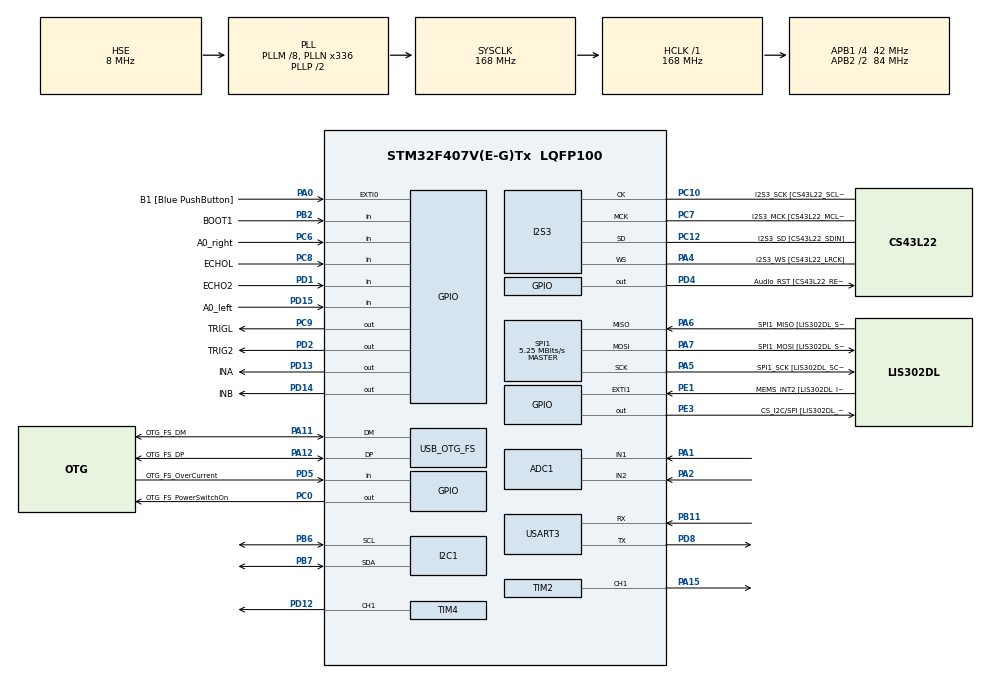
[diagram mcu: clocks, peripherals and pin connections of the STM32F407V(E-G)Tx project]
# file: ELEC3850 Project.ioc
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ADC1.Channel-0\#ChannelRegularConversion=ADC_CHANNEL_1
ADC1.Channel-1\#ChannelRegularConversion=ADC_CHANNEL_2
ADC1.ContinuousConvMode=DISABLE
ADC1.DMAContinuousRequests=ENABLE
ADC1.ExternalTrigConv=ADC_EXTERNALTRIGCONV_T3_TRGO
ADC1.NbrOfConversion=2
ADC1.NbrOfConversionFlag=1
ADC1.Rank-0\#ChannelRegularConversion=1
ADC1.Rank-1\#ChannelRegularConversion=2
ADC1.SamplingTime-0\#ChannelRegularConversion=ADC_SAMPLETIME_112CYCLES
ADC1.SamplingTime-1\#ChannelRegularConversion=ADC_SAMPLETIME_112CYCLES
ADC1.ScanConvMode=ENABLE
ADC1.master=1
Dma.ADC1.0.Direction=DMA_PERIPH_TO_MEMORY
Dma.ADC1.0.FIFOMode=DMA_FIFOMODE_DISABLE
Dma.ADC1.0.Instance=DMA2_Stream0
Dma.ADC1.0.MemDataAlignment=DMA_MDATAALIGN_WORD
Dma.ADC1.0.MemInc=DMA_MINC_ENABLE
Dma.ADC1.0.Mode=DMA_CIRCULAR
Dma.ADC1.0.PeriphDataAlignment=DMA_PDATAALIGN_WORD
Dma.ADC1.0.PeriphInc=DMA_PINC_DISABLE
Dma.ADC1.0.Priority=DMA_PRIORITY_LOW
Dma.Request0=ADC1
I2S3.AudioFreq-Half_Duplex_Master=I2S_AUDIOFREQ_96K
I2S3.ErrorAudioFreq=-2.34 %
I2S3.ErrorAudioFreq-Half_Duplex_Master=0.8 %
I2S3.FullDuplexMode=I2S_FULLDUPLEXMODE_DISABLE
I2S3.Instance=SPI$Index
I2S3.RealAudioFreq=93.75 KHz
I2S3.RealAudioFreq-Half_Duplex_Master=96.774 KHz
I2S3.VirtualMode=I2S_MODE_MASTER
Mcu.Family=STM32F4
Mcu.Name=STM32F407V(E-G)Tx
Mcu.Package=LQFP100
NVIC.DMA2_Stream0_IRQn=true\:0\:0\:false\:false\:true\:false\:true
NVIC.EXTI0_IRQn=true\:0\:0\:false\:false\:true\:true\:true
NVIC.OTG_FS_IRQn=true\:0\:0\:false\:false\:true\:true\:true
NVIC.PriorityGroup=NVIC_PRIORITYGROUP_0
PA0-WKUP.GPIO_Label=B1 [Blue PushButton]
PA0-WKUP.GPIO_ModeDefaultEXTI=GPIO_MODE_IT_RISING
PA0-WKUP.GPIO_PuPd=GPIO_NOPULL
PA0-WKUP.Signal=GPXTI0
PA1.Signal=ADCx_IN1
PA10.GPIO_Label=OTG_FS_ID
PA10.GPIO_Mode=GPIO_MODE_AF_PP
PA10.GPIO_PuPd=GPIO_NOPULL
PA10.GPIO_Speed=GPIO_SPEED_FREQ_LOW
PA10.Signal=USB_OTG_FS_ID
PA11.GPIO_Label=OTG_FS_DM
PA11.GPIO_Mode=GPIO_MODE_AF_PP
PA11.GPIO_PuPd=GPIO_NOPULL
PA11.GPIO_Speed=GPIO_SPEED_FREQ_LOW
PA11.Mode=Device_Only
PA11.Signal=USB_OTG_FS_DM
PA12.GPIO_Label=OTG_FS_DP
PA12.GPIO_Mode=GPIO_MODE_AF_PP
PA12.GPIO_PuPd=GPIO_NOPULL
PA12.GPIO_Speed=GPIO_SPEED_FREQ_LOW
PA12.Mode=Device_Only
PA12.Signal=USB_OTG_FS_DP
PA13.GPIO_Label=SWDIO
PA13.Mode=Serial_Wire
PA13.Signal=SYS_JTMS-SWDIO
PA14.GPIO_Label=SWCLK
PA14.Mode=Serial_Wire
PA14.Signal=SYS_JTCK-SWCLK
PA15.Signal=S_TIM2_CH1_ETR
PA2.Signal=ADCx_IN2
PA4.GPIO_Label=I2S3_WS [CS43L22_LRCK]
PA4.GPIO_Mode=GPIO_MODE_AF_PP
PA4.GPIO_PuPd=GPIO_NOPULL
PA4.GPIO_Speed=GPIO_SPEED_FREQ_LOW
PA4.Mode=Half_Duplex_Master
PA4.Signal=I2S3_WS
PA5.GPIO_Label=SPI1_SCK [LIS302DL_SCL/SPC]
PA5.GPIO_Mode=GPIO_MODE_AF_PP
PA5.GPIO_PuPd=GPIO_NOPULL
PA5.GPIO_Speed=GPIO_SPEED_FREQ_LOW
PA5.Mode=Full_Duplex_Master
PA5.Signal=SPI1_SCK
PA6.GPIO_Label=SPI1_MISO [LIS302DL_SDO]
PA6.GPIO_Mode=GPIO_MODE_AF_PP
PA6.GPIO_PuPd=GPIO_NOPULL
PA6.GPIO_Speed=GPIO_SPEED_FREQ_LOW
PA6.Mode=Full_Duplex_Master
PA6.Signal=SPI1_MISO
PA7.GPIO_Label=SPI1_MOSI [LIS302DL_SDA/SDI/SDO]
PA7.GPIO_Mode=GPIO_MODE_AF_PP
PA7.GPIO_PuPd=GPIO_NOPULL
PA7.GPIO_Speed=GPIO_SPEED_FREQ_LOW
PA7.Mode=Full_Duplex_Master
PA7.Signal=SPI1_MOSI
PA9.GPIO_Label=VBUS_FS
PA9.GPIO_Mode=GPIO_MODE_INPUT
PA9.GPIO_PuPd=GPIO_NOPULL
PA9.Signal=USB_OTG_FS_VBUS
PB10.GPIO_Label=CLK_IN [MP45DT02_CLK]
PB10.GPIO_Mode=GPIO_MODE_AF_PP
PB10.GPIO_PuPd=GPIO_NOPULL
PB10.GPIO_Speed=GPIO_SPEED_FREQ_LOW
PB10.Signal=I2S2_CK
PB11.Mode=Asynchronous
PB11.Signal=USART3_RX
PB2.GPIO_Label=BOOT1
PB2.GPIO_Mode=GPIO_MODE_INPUT
PB2.GPIO_PuPd=GPIO_NOPULL
PB2.Signal=GPIO_Input
PB3.GPIO_Label=SWO
PB3.Signal=SYS_JTDO-SWO
PB6.Mode=I2C
PB6.Signal=I2C1_SCL
PB7.Mode=I2C
PB7.Signal=I2C1_SDA
PC0.GPIO_Label=OTG_FS_PowerSwitchOn
PC0.GPIO_PuPd=GPIO_NOPULL
PC0.GPIO_Speed=GPIO_SPEED_FREQ_LOW
PC0.PinState=GPIO_PIN_SET
PC0.Signal=GPIO_Output
PC10.GPIO_Label=I2S3_SCK [CS43L22_SCLK]
PC10.GPIO_Mode=GPIO_MODE_AF_PP
PC10.GPIO_PuPd=GPIO_NOPULL
PC10.GPIO_Speed=GPIO_SPEED_FREQ_LOW
PC10.Mode=Half_Duplex_Master
PC10.Signal=I2S3_CK
PC12.GPIO_Label=I2S3_SD [CS43L22_SDIN]
PC12.GPIO_Mode=GPIO_MODE_AF_PP
PC12.GPIO_PuPd=GPIO_NOPULL
PC12.GPIO_Speed=GPIO_SPEED_FREQ_LOW
PC12.Mode=Half_Duplex_Master
PC12.Signal=I2S3_SD
PC14-OSC32_IN.GPIO_Label=PC14-OSC32_IN
PC14-OSC32_IN.Mode=LSE-External-Oscillator
PC14-OSC32_IN.Signal=RCC_OSC32_IN
PC15-OSC32_OUT.GPIO_Label=PC15-OSC32_OUT
PC15-OSC32_OUT.Mode=LSE-External-Oscillator
PC15-OSC32_OUT.Signal=RCC_OSC32_OUT
PC3.GPIO_Label=PDM_OUT [MP45DT02_DOUT]
PC3.GPIO_Mode=GPIO_MODE_AF_PP
PC3.GPIO_PuPd=GPIO_NOPULL
PC3.GPIO_Speed=GPIO_SPEED_FREQ_LOW
PC3.Signal=I2S2_SD
PC6.GPIO_Label=A0_right
PC6.Signal=GPIO_Input
PC7.GPIO_Label=I2S3_MCK [CS43L22_MCLK]
PC7.GPIO_Mode=GPIO_MODE_AF_PP
PC7.GPIO_PuPd=GPIO_NOPULL
PC7.GPIO_Speed=GPIO_SPEED_FREQ_LOW
PC7.Mode=Master_Clock_Activated
PC7.Signal=I2S3_MCK
PC8.GPIO_Label=ECHOL
PC8.Signal=GPIO_Input
PC9.GPIO_Label=TRIGL
PC9.Signal=GPIO_Output
PD1.GPIO_Label=ECHO2
PD1.Signal=GPIO_Input
PD12.Signal=S_TIM4_CH1
PD13.GPIO_Label=INA
PD13.Signal=GPIO_Output
PD14.GPIO_Label=INB
PD14.Signal=GPIO_Output
PD15.GPIO_Label=A0_left
PD15.Signal=GPIO_Input
PD2.GPIO_Label=TRIG2
PD2.Signal=GPIO_Output
PD4.GPIO_Label=Audio_RST [CS43L22_RESET]
PD4.GPIO_PuPd=GPIO_NOPULL
PD4.GPIO_Speed=GPIO_SPEED_FREQ_LOW
PD4.Signal=GPIO_Output
PD5.GPIO_Label=OTG_FS_OverCurrent
PD5.GPIO_Mode=GPIO_MODE_INPUT
PD5.GPIO_PuPd=GPIO_NOPULL
PD5.Signal=GPIO_Input
PD8.Mode=Asynchronous
PD8.Signal=USART3_TX
PE1.GPIO_Label=MEMS_INT2 [LIS302DL_INT2]
PE1.GPIO_ModeDefaultEXTI=GPIO_MODE_EVT_RISING
PE1.GPIO_PuPd=GPIO_NOPULL
PE1.Signal=GPXTI1
PE3.GPIO_Label=CS_I2C/SPI [LIS302DL_CS_I2C/SPI]
PE3.GPIO_PuPd=GPIO_NOPULL
PE3.GPIO_Speed=GPIO_SPEED_FREQ_LOW
PE3.Signal=GPIO_Output
PH0-OSC_IN.GPIO_Label=PH0-OSC_IN
PH0-OSC_IN.Mode=HSE-External-Oscillator
PH0-OSC_IN.Signal=RCC_OSC_IN
PH1-OSC_OUT.GPIO_Label=PH1-OSC_OUT
PH1-OSC_OUT.Mode=HSE-External-Oscillator
PH1-OSC_OUT.Signal=RCC_OSC_OUT
ProjectManager.HeapSize=0x200
ProjectManager.StackSize=0x400
ProjectManager.TargetToolchain=STM32CubeIDE
RCC.48MHZClocksFreq_Value=48000000
RCC.AHBFreq_Value=168000000
RCC.APB1CLKDivider=RCC_HCLK_DIV4
RCC.APB1Freq_Value=42000000
RCC.APB1TimFreq_Value=84000000
RCC.APB2CLKDivider=RCC_HCLK_DIV2
RCC.APB2Freq_Value=84000000
RCC.APB2TimFreq_Value=168000000
RCC.CortexFreq_Value=168000000
RCC.HCLKFreq_Value=168000000
RCC.HSE_VALUE=8000000
RCC.HSI_VALUE=16000000
RCC.PLLM=8
RCC.PLLN=336
RCC.PLLQ=7
RCC.SYSCLKFreq_VALUE=168000000
RCC.SYSCLKSource=RCC_SYSCLKSOURCE_PLLCLK
RCC.VCOOutputFreq_Value=336000000
SH.ADCx_IN1.0=ADC1_IN1,IN1
SH.ADCx_IN2.0=ADC1_IN2,IN2
SH.S_TIM2_CH1_ETR.0=TIM2_CH1,PWM Generation1 CH1
SH.S_TIM4_CH1.0=TIM4_CH1,PWM Generation1 CH1
SPI1.BaudRatePrescaler=SPI_BAUDRATEPRESCALER_16
SPI1.CalculateBaudRate=5.25 MBits/s
SPI1.Direction=SPI_DIRECTION_2LINES
SPI1.Mode=SPI_MODE_MASTER
SPI1.VirtualType=VM_MASTER
TIM14.AutoReloadPreload=TIM_AUTORELOAD_PRELOAD_ENABLE
TIM14.Period=1000
TIM14.Prescaler=84
TIM2.Channel-PWM\ Generation1\ CH1=TIM_CHANNEL_1
TIM2.Period=2000-1
TIM2.Prescaler=540
TIM2.Pulse-PWM\ Generation1\ CH1=234
TIM3.Period=1000
TIM3.Prescaler=840
TIM3.TIM_MasterOutputTrigger=TIM_TRGO_UPDATE
TIM4.Channel-PWM\ Generation1\ CH1=TIM_CHANNEL_1
TIM4.Period=100-1
TIM4.Prescaler=168-1
TIM4.Pulse-PWM\ Generation1\ CH1=0
USART3.VirtualMode=VM_ASYNC
USB_DEVICE.CLASS_NAME_FS=CDC
USB_DEVICE.VirtualMode-CDC_FS=Cdc
USB_DEVICE.VirtualModeFS=Cdc_FS
USB_OTG_FS.VirtualMode=Device_Only
VP_TIM14_VS_ClockSourceINT.Mode=Enable_Timer
VP_TIM2_VS_ClockSourceINT.Mode=Internal
VP_TIM3_VS_ClockSourceINT.Mode=Internal
VP_TIM4_VS_ClockSourceINT.Mode=Internal
VP_USB_DEVICE_VS_USB_DEVICE_CDC_FS.Mode=CDC_FS
board=STM32F4DISCOVERY

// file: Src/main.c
/* USER CODE BEGIN Header */
/**
  ******************************************************************************
  * @file           : main.c
  * @brief          : Main program body
  ******************************************************************************
  * @attention
  *
  * <h2><center>&copy; Copyright (c) 2019 STMicroelectronics.
  * All rights reserved.</center></h2>
  *
  * This software component is licensed by ST under Ultimate Liberty license
  * SLA0044, the "License"; You may not use this file except in compliance with
  * the License. You may obtain a copy of the License at:
  *                             www.st.com/SLA0044
  *
  ******************************************************************************
  */
/* USER CODE END Header */

#include "main.h"
#include "usb_device.h"

/* USER CODE BEGIN Includes */
#include "dwt_delay.h"
/* USER CODE END Includes */

/* USER CODE BEGIN PTD */
#define LSM9DS1_Acc_Read_address	0xD7
#define LSM9DS1_Acc_write_address	0xD6

#define LSM9DS1_Mag_Read_address	0x3D
#define LSM9DS1_Mag_write_address	0x3C

//Silkscreen on PCB list these values I don't know if they work
//#define LSM9DS1_Acc_address	0x68
//#define LSM9DS1_Mag_address	0x1E

// Define Control registers and Values to send
#define CTRL_REG1_G	0x10		// Angular rate sensor Control Register 1.
#define CTRL_REG1_G_VALUE	0xAB

#define CTRL_REG3_G	0x12		// Angular rate sensor Control Register 3.
#define CTRL_REG3_G_VALUE	0x40

#define CTRL_REG6_XL	0x20	//Linear acceleration sensor Control Register 6
#define CTRL_REG6_XL_VALUE	0xB0

#define CTRL_REG7_XL	0x21	// Linear acceleration sensor Control Register 7.
#define CTRL_REG7_XL_VALUE	0xE0//0xC0//0xC4

#define CTRL_REG1_M	0x20	// Magnetometer register
#define CTRL_REG1_M_VALUE	0xD0//0x50

#define	CTRL_REG2_M	0x21	//Magnetometer register
#define CTRL_REG2_M_VALUE	0x00

#define	CTRL_REG3_M	0x22	//Magnetometer register
#define	CTRL_REG3_M_Value	0x0

// Data Registers

// Temperature
#define OUT_TEMP_L	0x15
#define	OUT_TEMP_H	0x16

// Linear acceleration sensor output register
#define OUT_X_L_XL	0x28
#define OUT_X_H_XL	0x29
#define OUT_Y_L_XL	0x2A
#define OUT_Y_H_XL	0x2B
#define OUT_Z_L_XL	0x2C
#define OUT_Z_H_XL	0x2D

// Gyroscope (Angular rate)
#define OUT_X_L_G	0x18
#define OUT_X_H_G	0x19
#define OUT_Y_L_G	0x1A
#define OUT_Y_H_G	0x1B
#define OUT_Z_L_G	0x1C
#define OUT_Z_H_G	0x1D

//Magnetometer
#define OUT_X_L_M	0x28
#define OUT_X_H_M	0x29
#define OUT_Y_L_M	0x2A
#define OUT_Y_H_M	0x2B
#define OUT_Z_L_M	0x2C
#define OUT_Z_H_M	0x2D

/* USER CODE END PTD */

ADC_HandleTypeDef hadc1;
DMA_HandleTypeDef hdma_adc1;

I2C_HandleTypeDef hi2c1;

I2S_HandleTypeDef hi2s3;

SPI_HandleTypeDef hspi1;

TIM_HandleTypeDef htim2;
TIM_HandleTypeDef htim3;
TIM_HandleTypeDef htim4;
TIM_HandleTypeDef htim14;

UART_HandleTypeDef huart3;

void SystemClock_Config(void);
static void MX_GPIO_Init(void);
static void MX_DMA_Init(void);
static void MX_I2S3_Init(void);
static void MX_TIM3_Init(void);
static void MX_TIM4_Init(void);
static void MX_TIM2_Init(void);
static void MX_ADC1_Init(void);
static void MX_USART3_UART_Init(void);
static void MX_I2C1_Init(void);
static void MX_SPI1_Init(void);
static void MX_TIM14_Init(void);
/* USER CODE BEGIN PFP */
uint32_t data[BUFF*NOM_ADC];
uint32_t count, start;
double current = 0;
double  speed;
double iu = 0;
double iu2 = 0;
double Iset = 0;	//Output of outer loop / Input to inner loop
//Variables for speed calcs in GPIO callback
uint32_t tnew = 0;
uint32_t told = 0;
uint32_t tdiff = 0;
uint32_t vtest = 0;
int FLAG1;

/* USER CODE END PFP */

/* USER CODE BEGIN 0 */
/* Private function prototypes -----------------------------------------------*/
void SystemClock_Config(void);
static void MX_GPIO_Init(void);
static void MX_DMA_Init(void);
static void MX_I2S3_Init(void);
static void MX_TIM3_Init(void);
static void MX_TIM4_Init(void);
static void MX_TIM2_Init(void);
static void MX_ADC1_Init(void);
static void MX_USART3_UART_Init(void);
/* USER CODE BEGIN PFP */
void stdio_setup(void);

/* MOTOR PWM */
void pwm_setvalue(int a, uint32_t pwm);

/* PI CONTTROL */
uint32_t pi_control (double u, double ref, uint32_t pwm);
double vel_control (double u, double ref, uint32_t pwm);
double dis_control(double u, double ref, double u2);

/* STEERING */
void steer_pwm_setvalue(uint16_t value);
void steer_straight(void);
void steer_right(void);
void steer_left(void);

/* ULTRA */
double ultrasonic(void);
double ultrasonic2(void);

/*ACCEL*/

void initalise_LSM9DS1(void);	// This function configures and sets the registers inside the IMU

void acceleration_get_raw(void);
double acceleration_convert_values(void);

void angle_get_raw(void);
void angle_convert_values(void);

void mag_get_raw(void);
double mag_convert_values();

void read_temperature(void);

uint8_t i2cBuf[8];		// Buffer for sending and receiving Data over I2C
uint8_t	AccBuf[8];		// Buffer to store Accelerometer values
uint8_t GyroBuff[8];	// Buffer to store gyroscope (angle values)
uint8_t MagBuff[8];		// Buffer to store Magnetometer values
uint8_t Deg_Buff[8];		// Buffer to store Magnetometer values

int16_t temp;
float deg;

int16_t ax,ay,az;			// Combined Raw Accelerometer values
float Xaccel,Yaccel,Zaccel;	// Scaled Raw Accelerometer values

int16_t	gx, gy, gz;
float Xangle, Yangle, Zangle;

int16_t	mx, my, mz;
double Xmag, Ymag, Zmag;

double direction;	// This is the direction used for the compass

double angle;

char update_angle;	// Flag to indicate time to update the angle measurement
// Final angle values
float Xangledeg;
float Yangledeg;
float Zangledeg;

/* USER CODE END 0 */

int main(void)
{
  /* USER CODE BEGIN 1 */
	stdio_setup();
  /* USER CODE END 1 */

  /* MCU Configuration--------------------------------------------------------*/

  /* Reset of all peripherals, Initializes the Flash interface and the Systick. */
  HAL_Init();

  /* USER CODE BEGIN Init */
  DWT_Init();
  /* USER CODE END Init */

  /* Configure the system clock */
  SystemClock_Config();

  /* Initialize all configured peripherals */
  MX_GPIO_Init();
  MX_DMA_Init();
  MX_I2S3_Init();
  MX_USB_DEVICE_Init();
  MX_TIM3_Init();
  MX_TIM4_Init();
  MX_TIM2_Init();
  MX_ADC1_Init();
  MX_USART3_UART_Init();
  MX_I2C1_Init();
  MX_SPI1_Init();
  MX_TIM14_Init();
  /* USER CODE BEGIN 2 */
  HAL_TIM_Base_Start(&htim3);
  initalise_LSM9DS1();
  /* USER CODE END 2 */

  /* Infinite loop */
  /* USER CODE BEGIN WHILE */
  HAL_ADC_Start_DMA(&hadc1, (uint32_t*)data, BUFF*NOM_ADC);
  FLAG1 = 0;
  	start = HAL_GetTick();
  	count = 0;
	double Vset;
  	Vset = VEL;
  	uint32_t pwm = 0;
  	uint32_t adaptive = Loop2;		//Counter to time distance loop
  	double dist = ultrasonic();
  	uint16_t timcount = LoopFreq;	//Counter to time inner/outer loops
  	steer_straight();
  	double u3 = VEL;		//Input for Adaptive Cruise Control (cm), should maintain 1s gap at Cruise Control speed
  	double buf1[500];
  	int loop=0;
	char c;
	uint8_t inp[30];
	double direc;
	double cardist = 0;
	double heading;
	double turn;
	double dist2;
	int k = 0;
	int d = 1;
	double accel;
	double aref;

	//steer_right();
	//steer_straight();
	HAL_Delay(100);
	printf("\nSTART\n");

	//pwm_setvalue(1, 25);
	steer_straight();
	while (1)
	{
	  c = getchar();

		inp[loop] = c;

		if(c == '\0')
		{
			loop = -1;
		}

		if(c == '\r')
		{
			inp[loop] = '\0';
			printf("%d: inp = %s\r\n", loop, inp);
			loop = -1;

			break;
		}
	}

		loop++;
    /* USER CODE END WHILE */

    /* USER CODE BEGIN 3 */

		/*Hill Hold*/

	while(0)
	{
		for(int ii = 0; ii < 5; ii++)
		{
			acceleration_get_raw();
			accel += acceleration_convert_values();
		}
		accel = accel/5;

		while(1)
		{
			if (timcount == LoopFreq){
			acceleration_get_raw();
			aref = acceleration_convert_values();
			Iset = vel_control(0.025, aref , pwm);
			timcount = 0;
			}
			current = (double)current*3300/4096*1/140;
			pwm = pi_control(Iset, current, pwm);
			pwm_setvalue(1, pwm);
			timcount++;
			printf("PWM: %d\n", pwm);
		}
	}

	/*Reverse Parallel Park*/

	while(0)
	{
	for (int z = 0; z < 5; z++)
	{
		mag_get_raw();
		direc +=mag_convert_values();
		HAL_Delay(200);
	}
	direc = direc/5;
	printf("Direction: %f\n", direc);

	for (int z = 0; z < 5; z++)
	{
		cardist += ultrasonic2();
		HAL_Delay(10);
	}
	cardist = cardist/5;
	printf("Distance from car: %f\n", cardist);
	HAL_Delay(500);
	pwm_setvalue(2, 15);
	while(1)
	{

		dist2 = ultrasonic2();
		//printf("Distance: %f\n", dist2);
		while (dist2 >= cardist + 10)
		{
			if(!k)
			{
				steer_right();
				k = 1;
			}

			mag_get_raw();
			heading = mag_convert_values();
			//printf("Heading: %f\n", heading);
			while(heading <= direc - 1.5)
			{
				k = 0;
				if(!k)
				{
					steer_left();
					k = 1;
				}
				while(1)
				{
					mag_get_raw();
					heading = mag_convert_values();
					printf("Heading: %f\n", heading);
					while (heading >= direc + 5)
					{
						k = 0;
						pwm_setvalue(0, 15);

						steer_straight();
						k = 1;
						HAL_Delay(500);

						while(1)
						{
							dist2 = 0;
							pwm_setvalue(1, 15);
							dist2 = ultrasonic();
							printf("Distance: %f\n", dist2);
							while (dist2 <= 40)
							{
								pwm_setvalue(0, 15);
							}
						}
					}
				}
			}
		}
	}
}

	/*Curise control & adaptive cruise control*/
	while(0)
	{

		while(1)
		{
			if(FLAG1)
			{
				//Distance loop occurs every Loop2x of the inner loop
				if (adaptive == Loop2){
				//Adaptive Cruise Control Loop
				dist = ultrasonic();
				Vset = dis_control(u3, dist, VEL);
				adaptive = 0;
				//printf("Dist = %f\n", dist);
				//printf("Vset = %f\n", Vset);
				//printf("Dist = %f\n", dist);
				}

				//Ensures inner loop runs LoopFreqx faster than outer loop (should run every LoopFreq ms)
				if (timcount == LoopFreq){

					if(tdiff != 0){
						speed = (double)(((6*M_PI/5 * 1/ tdiff))*1000);						//(count/LoopFreq)
					}
					else{
						speed = 0;
						}

					//buf1[loop] = speed;
					//Velocity Control Loop
					Iset = vel_control(Vset, speed, pwm);
					//Update Variables
					timcount = 0;
					count = 0;
					loop++;
				}
				//Get current measurement
				current = (double)current*3300/4096*1/140;
				//Current Control Loop
				pwm = pi_control(Iset, current, pwm);
				//Clamp output
				if(pwm > MAX_PWM)
				{
				  pwm = MAX_PWM;
				}

				else if(pwm < 0)
				{
				  pwm = 0;
				}
				//Set pwm value according to control output
				pwm_setvalue(d, pwm);
				//Update variables
				FLAG1 = 0;
				timcount++;
				adaptive++;
			}
		}
	}

	/*Line following*/
	while(0)
	{
		 uint8_t a_right = HAL_GPIO_ReadPin(A0_right_GPIO_Port, A0_right_Pin);
		 uint8_t a_left = HAL_GPIO_ReadPin(A0_left_GPIO_Port, A0_left_Pin);

			  int p = 0;
			  if(p == 0)
			  {
			  if(a_right == 1 && a_left == 0)
			  {
				  pwm_setvalue(1, 15);
				  steer_left();
				  printf("Left\r\n");
				  //sprintf(Msg, "Turning Left\r\n");
				 // CDC_Transmit_FS(Msg, strlen(Msg));
			  }
			  else if(a_left == 1 && a_right == 0)
			  {
				  pwm_setvalue(1, 15);
				  steer_right();
				  printf("Right\r\n");
				  //sprintf(Msg, "Turning Right\r\n");
				 //CDC_Transmit_FS(Msg, strlen(Msg));
			  }
			  else if(a_right == 1 && a_left == 1)
			  {
				  pwm_setvalue(0, 30);
				  printf("Stop\r\n");
				  p = 1;
				  //sprintf(Msg, "Stopping\r\n");
				  //CDC_Transmit_FS(Msg, strlen(Msg));
			  }
			  else
			  {
				  pwm_setvalue(1, 15);
				  steer_straight();
				  printf("Straight\r\n");
				  //sprintf(Msg, "Turning Straight\r\n");
				  //CDC_Transmit_FS(Msg, strlen(Msg));
			  }
			  HAL_Delay(100);
			  }
	}

  /* USER CODE END 3 */

}

void SystemClock_Config(void)
{
  RCC_OscInitTypeDef RCC_OscInitStruct = {0};
  RCC_ClkInitTypeDef RCC_ClkInitStruct = {0};
  RCC_PeriphCLKInitTypeDef PeriphClkInitStruct = {0};

  /** Configure the main internal regulator output voltage
  */
  __HAL_RCC_PWR_CLK_ENABLE();
  __HAL_PWR_VOLTAGESCALING_CONFIG(PWR_REGULATOR_VOLTAGE_SCALE1);
  /** Initializes the CPU, AHB and APB busses clocks
  */
  RCC_OscInitStruct.OscillatorType = RCC_OSCILLATORTYPE_HSE;
  RCC_OscInitStruct.HSEState = RCC_HSE_ON;
  RCC_OscInitStruct.PLL.PLLState = RCC_PLL_ON;
  RCC_OscInitStruct.PLL.PLLSource = RCC_PLLSOURCE_HSE;
  RCC_OscInitStruct.PLL.PLLM = 8;
  RCC_OscInitStruct.PLL.PLLN = 336;
  RCC_OscInitStruct.PLL.PLLP = RCC_PLLP_DIV2;
  RCC_OscInitStruct.PLL.PLLQ = 7;
  if (HAL_RCC_OscConfig(&RCC_OscInitStruct) != HAL_OK)
  {
    Error_Handler();
  }
  /** Initializes the CPU, AHB and APB busses clocks
  */
  RCC_ClkInitStruct.ClockType = RCC_CLOCKTYPE_HCLK|RCC_CLOCKTYPE_SYSCLK
                              |RCC_CLOCKTYPE_PCLK1|RCC_CLOCKTYPE_PCLK2;
  RCC_ClkInitStruct.SYSCLKSource = RCC_SYSCLKSOURCE_PLLCLK;
  RCC_ClkInitStruct.AHBCLKDivider = RCC_SYSCLK_DIV1;
  RCC_ClkInitStruct.APB1CLKDivider = RCC_HCLK_DIV4;
  RCC_ClkInitStruct.APB2CLKDivider = RCC_HCLK_DIV2;

  if (HAL_RCC_ClockConfig(&RCC_ClkInitStruct, FLASH_LATENCY_5) != HAL_OK)
  {
    Error_Handler();
  }
  PeriphClkInitStruct.PeriphClockSelection = RCC_PERIPHCLK_I2S;
  PeriphClkInitStruct.PLLI2S.PLLI2SN = 192;
  PeriphClkInitStruct.PLLI2S.PLLI2SR = 2;
  if (HAL_RCCEx_PeriphCLKConfig(&PeriphClkInitStruct) != HAL_OK)
  {
    Error_Handler();
  }
}

static void MX_ADC1_Init(void)
{

  ADC_ChannelConfTypeDef sConfig = {0};

  /** Configure the global features of the ADC (Clock, Resolution, Data Alignment and number of conversion)
  */
  hadc1.Instance = ADC1;
  hadc1.Init.ClockPrescaler = ADC_CLOCK_SYNC_PCLK_DIV4;
  hadc1.Init.Resolution = ADC_RESOLUTION_12B;
  hadc1.Init.ScanConvMode = ENABLE;
  hadc1.Init.ContinuousConvMode = DISABLE;
  hadc1.Init.DiscontinuousConvMode = DISABLE;
  hadc1.Init.ExternalTrigConvEdge = ADC_EXTERNALTRIGCONVEDGE_RISING;
  hadc1.Init.ExternalTrigConv = ADC_EXTERNALTRIGCONV_T3_TRGO;
  hadc1.Init.DataAlign = ADC_DATAALIGN_RIGHT;
  hadc1.Init.NbrOfConversion = 2;
  hadc1.Init.DMAContinuousRequests = ENABLE;
  hadc1.Init.EOCSelection = ADC_EOC_SINGLE_CONV;
  if (HAL_ADC_Init(&hadc1) != HAL_OK)
  {
    Error_Handler();
  }
  /** Configure for the selected ADC regular channel its corresponding rank in the sequencer and its sample time.
  */
  sConfig.Channel = ADC_CHANNEL_1;
  sConfig.Rank = 1;
  sConfig.SamplingTime = ADC_SAMPLETIME_112CYCLES;
  if (HAL_ADC_ConfigChannel(&hadc1, &sConfig) != HAL_OK)
  {
    Error_Handler();
  }
  /** Configure for the selected ADC regular channel its corresponding rank in the sequencer and its sample time.
  */
  sConfig.Channel = ADC_CHANNEL_2;
  sConfig.Rank = 2;
  if (HAL_ADC_ConfigChannel(&hadc1, &sConfig) != HAL_OK)
  {
    Error_Handler();
  }

}

static void MX_I2C1_Init(void)
{

  hi2c1.Instance = I2C1;
  hi2c1.Init.ClockSpeed = 100000;
  hi2c1.Init.DutyCycle = I2C_DUTYCYCLE_2;
  hi2c1.Init.OwnAddress1 = 0;
  hi2c1.Init.AddressingMode = I2C_ADDRESSINGMODE_7BIT;
  hi2c1.Init.DualAddressMode = I2C_DUALADDRESS_DISABLE;
  hi2c1.Init.OwnAddress2 = 0;
  hi2c1.Init.GeneralCallMode = I2C_GENERALCALL_DISABLE;
  hi2c1.Init.NoStretchMode = I2C_NOSTRETCH_DISABLE;
  if (HAL_I2C_Init(&hi2c1) != HAL_OK)
  {
    Error_Handler();
  }

}

static void MX_I2S3_Init(void)
{

  hi2s3.Instance = SPI3;
  hi2s3.Init.Mode = I2S_MODE_MASTER_TX;
  hi2s3.Init.Standard = I2S_STANDARD_PHILIPS;
  hi2s3.Init.DataFormat = I2S_DATAFORMAT_16B;
  hi2s3.Init.MCLKOutput = I2S_MCLKOUTPUT_ENABLE;
  hi2s3.Init.AudioFreq = I2S_AUDIOFREQ_96K;
  hi2s3.Init.CPOL = I2S_CPOL_LOW;
  hi2s3.Init.ClockSource = I2S_CLOCK_PLL;
  hi2s3.Init.FullDuplexMode = I2S_FULLDUPLEXMODE_DISABLE;
  if (HAL_I2S_Init(&hi2s3) != HAL_OK)
  {
    Error_Handler();
  }

}

static void MX_SPI1_Init(void)
{

  /* SPI1 parameter configuration*/
  hspi1.Instance = SPI1;
  hspi1.Init.Mode = SPI_MODE_MASTER;
  hspi1.Init.Direction = SPI_DIRECTION_2LINES;
  hspi1.Init.DataSize = SPI_DATASIZE_8BIT;
  hspi1.Init.CLKPolarity = SPI_POLARITY_LOW;
  hspi1.Init.CLKPhase = SPI_PHASE_1EDGE;
  hspi1.Init.NSS = SPI_NSS_SOFT;
  hspi1.Init.BaudRatePrescaler = SPI_BAUDRATEPRESCALER_16;
  hspi1.Init.FirstBit = SPI_FIRSTBIT_MSB;
  hspi1.Init.TIMode = SPI_TIMODE_DISABLE;
  hspi1.Init.CRCCalculation = SPI_CRCCALCULATION_DISABLE;
  hspi1.Init.CRCPolynomial = 10;
  if (HAL_SPI_Init(&hspi1) != HAL_OK)
  {
    Error_Handler();
  }

}

static void MX_TIM2_Init(void)
{

  TIM_ClockConfigTypeDef sClockSourceConfig = {0};
  TIM_MasterConfigTypeDef sMasterConfig = {0};
  TIM_OC_InitTypeDef sConfigOC = {0};

  htim2.Instance = TIM2;
  htim2.Init.Prescaler = 540;
  htim2.Init.CounterMode = TIM_COUNTERMODE_UP;
  htim2.Init.Period = 2000-1;
  htim2.Init.ClockDivision = TIM_CLOCKDIVISION_DIV1;
  htim2.Init.AutoReloadPreload = TIM_AUTORELOAD_PRELOAD_DISABLE;
  if (HAL_TIM_Base_Init(&htim2) != HAL_OK)
  {
    Error_Handler();
  }
  sClockSourceConfig.ClockSource = TIM_CLOCKSOURCE_INTERNAL;
  if (HAL_TIM_ConfigClockSource(&htim2, &sClockSourceConfig) != HAL_OK)
  {
    Error_Handler();
  }
  if (HAL_TIM_PWM_Init(&htim2) != HAL_OK)
  {
    Error_Handler();
  }
  sMasterConfig.MasterOutputTrigger = TIM_TRGO_RESET;
  sMasterConfig.MasterSlaveMode = TIM_MASTERSLAVEMODE_DISABLE;
  if (HAL_TIMEx_MasterConfigSynchronization(&htim2, &sMasterConfig) != HAL_OK)
  {
    Error_Handler();
  }
  sConfigOC.OCMode = TIM_OCMODE_PWM1;
  sConfigOC.Pulse = 234;
  sConfigOC.OCPolarity = TIM_OCPOLARITY_HIGH;
  sConfigOC.OCFastMode = TIM_OCFAST_DISABLE;
  if (HAL_TIM_PWM_ConfigChannel(&htim2, &sConfigOC, TIM_CHANNEL_1) != HAL_OK)
  {
    Error_Handler();
  }
  HAL_TIM_MspPostInit(&htim2);

}

static void MX_TIM3_Init(void)
{

  TIM_ClockConfigTypeDef sClockSourceConfig = {0};
  TIM_MasterConfigTypeDef sMasterConfig = {0};

  htim3.Instance = TIM3;
  htim3.Init.Prescaler = 840;
  htim3.Init.CounterMode = TIM_COUNTERMODE_UP;
  htim3.Init.Period = 1000;
  htim3.Init.ClockDivision = TIM_CLOCKDIVISION_DIV1;
  htim3.Init.AutoReloadPreload = TIM_AUTORELOAD_PRELOAD_DISABLE;
  if (HAL_TIM_Base_Init(&htim3) != HAL_OK)
  {
    Error_Handler();
  }
  sClockSourceConfig.ClockSource = TIM_CLOCKSOURCE_INTERNAL;
  if (HAL_TIM_ConfigClockSource(&htim3, &sClockSourceConfig) != HAL_OK)
  {
    Error_Handler();
  }
  sMasterConfig.MasterOutputTrigger = TIM_TRGO_UPDATE;
  sMasterConfig.MasterSlaveMode = TIM_MASTERSLAVEMODE_DISABLE;
  if (HAL_TIMEx_MasterConfigSynchronization(&htim3, &sMasterConfig) != HAL_OK)
  {
    Error_Handler();
  }

}

static void MX_TIM4_Init(void)
{

  TIM_ClockConfigTypeDef sClockSourceConfig = {0};
  TIM_MasterConfigTypeDef sMasterConfig = {0};
  TIM_OC_InitTypeDef sConfigOC = {0};

  htim4.Instance = TIM4;
  htim4.Init.Prescaler = 168-1;
  htim4.Init.CounterMode = TIM_COUNTERMODE_UP;
  htim4.Init.Period = 100-1;
  htim4.Init.ClockDivision = TIM_CLOCKDIVISION_DIV1;
  htim4.Init.AutoReloadPreload = TIM_AUTORELOAD_PRELOAD_DISABLE;
  if (HAL_TIM_Base_Init(&htim4) != HAL_OK)
  {
    Error_Handler();
  }
  sClockSourceConfig.ClockSource = TIM_CLOCKSOURCE_INTERNAL;
  if (HAL_TIM_ConfigClockSource(&htim4, &sClockSourceConfig) != HAL_OK)
  {
    Error_Handler();
  }
  if (HAL_TIM_PWM_Init(&htim4) != HAL_OK)
  {
    Error_Handler();
  }
  sMasterConfig.MasterOutputTrigger = TIM_TRGO_RESET;
  sMasterConfig.MasterSlaveMode = TIM_MASTERSLAVEMODE_DISABLE;
  if (HAL_TIMEx_MasterConfigSynchronization(&htim4, &sMasterConfig) != HAL_OK)
  {
    Error_Handler();
  }
  sConfigOC.OCMode = TIM_OCMODE_PWM1;
  sConfigOC.Pulse = 0;
  sConfigOC.OCPolarity = TIM_OCPOLARITY_HIGH;
  sConfigOC.OCFastMode = TIM_OCFAST_DISABLE;
  if (HAL_TIM_PWM_ConfigChannel(&htim4, &sConfigOC, TIM_CHANNEL_1) != HAL_OK)
  {
    Error_Handler();
  }
  HAL_TIM_MspPostInit(&htim4);

}

static void MX_TIM14_Init(void)
{

  htim14.Instance = TIM14;
  htim14.Init.Prescaler = 84;
  htim14.Init.CounterMode = TIM_COUNTERMODE_UP;
  htim14.Init.Period = 1000;
  htim14.Init.ClockDivision = TIM_CLOCKDIVISION_DIV1;
  htim14.Init.AutoReloadPreload = TIM_AUTORELOAD_PRELOAD_ENABLE;
  if (HAL_TIM_Base_Init(&htim14) != HAL_OK)
  {
    Error_Handler();
  }

}

static void MX_USART3_UART_Init(void)
{

  huart3.Instance = USART3;
  huart3.Init.BaudRate = 115200;
  huart3.Init.WordLength = UART_WORDLENGTH_8B;
  huart3.Init.StopBits = UART_STOPBITS_1;
  huart3.Init.Parity = UART_PARITY_NONE;
  huart3.Init.Mode = UART_MODE_TX_RX;
  huart3.Init.HwFlowCtl = UART_HWCONTROL_NONE;
  huart3.Init.OverSampling = UART_OVERSAMPLING_16;
  if (HAL_UART_Init(&huart3) != HAL_OK)
  {
    Error_Handler();
  }

}

static void MX_DMA_Init(void)
{

  /* DMA controller clock enable */
  __HAL_RCC_DMA2_CLK_ENABLE();

  /* DMA interrupt init */
  /* DMA2_Stream0_IRQn interrupt configuration */
  HAL_NVIC_SetPriority(DMA2_Stream0_IRQn, 0, 0);
  HAL_NVIC_EnableIRQ(DMA2_Stream0_IRQn);

}

static void MX_GPIO_Init(void)
{
  GPIO_InitTypeDef GPIO_InitStruct = {0};

  /* GPIO Ports Clock Enable */
  __HAL_RCC_GPIOE_CLK_ENABLE();
  __HAL_RCC_GPIOC_CLK_ENABLE();
  __HAL_RCC_GPIOH_CLK_ENABLE();
  __HAL_RCC_GPIOA_CLK_ENABLE();
  __HAL_RCC_GPIOB_CLK_ENABLE();
  __HAL_RCC_GPIOD_CLK_ENABLE();

  /*Configure GPIO pin Output Level */
  HAL_GPIO_WritePin(CS_I2C_SPI_GPIO_Port, CS_I2C_SPI_Pin, GPIO_PIN_RESET);

  /*Configure GPIO pin Output Level */
  HAL_GPIO_WritePin(OTG_FS_PowerSwitchOn_GPIO_Port, OTG_FS_PowerSwitchOn_Pin, GPIO_PIN_SET);

  /*Configure GPIO pin Output Level */
  HAL_GPIO_WritePin(GPIOD, INA_Pin|INB_Pin|TRIG2_Pin|Audio_RST_Pin, GPIO_PIN_RESET);

  /*Configure GPIO pin Output Level */
  HAL_GPIO_WritePin(TRIGL_GPIO_Port, TRIGL_Pin, GPIO_PIN_RESET);

  /*Configure GPIO pin : CS_I2C_SPI_Pin */
  GPIO_InitStruct.Pin = CS_I2C_SPI_Pin;
  GPIO_InitStruct.Mode = GPIO_MODE_OUTPUT_PP;
  GPIO_InitStruct.Pull = GPIO_NOPULL;
  GPIO_InitStruct.Speed = GPIO_SPEED_FREQ_LOW;
  HAL_GPIO_Init(CS_I2C_SPI_GPIO_Port, &GPIO_InitStruct);

  /*Configure GPIO pins : OTG_FS_PowerSwitchOn_Pin TRIGL_Pin */
  GPIO_InitStruct.Pin = OTG_FS_PowerSwitchOn_Pin|TRIGL_Pin;
  GPIO_InitStruct.Mode = GPIO_MODE_OUTPUT_PP;
  GPIO_InitStruct.Pull = GPIO_NOPULL;
  GPIO_InitStruct.Speed = GPIO_SPEED_FREQ_LOW;
  HAL_GPIO_Init(GPIOC, &GPIO_InitStruct);

  /*Configure GPIO pin : PDM_OUT_Pin */
  GPIO_InitStruct.Pin = PDM_OUT_Pin;
  GPIO_InitStruct.Mode = GPIO_MODE_AF_PP;
  GPIO_InitStruct.Pull = GPIO_NOPULL;
  GPIO_InitStruct.Speed = GPIO_SPEED_FREQ_LOW;
  GPIO_InitStruct.Alternate = GPIO_AF5_SPI2;
  HAL_GPIO_Init(PDM_OUT_GPIO_Port, &GPIO_InitStruct);

  /*Configure GPIO pin : B1_Pin */
  GPIO_InitStruct.Pin = B1_Pin;
  GPIO_InitStruct.Mode = GPIO_MODE_IT_RISING;
  GPIO_InitStruct.Pull = GPIO_NOPULL;
  HAL_GPIO_Init(B1_GPIO_Port, &GPIO_InitStruct);

  /*Configure GPIO pin : BOOT1_Pin */
  GPIO_InitStruct.Pin = BOOT1_Pin;
  GPIO_InitStruct.Mode = GPIO_MODE_INPUT;
  GPIO_InitStruct.Pull = GPIO_NOPULL;
  HAL_GPIO_Init(BOOT1_GPIO_Port, &GPIO_InitStruct);

  /*Configure GPIO pin : CLK_IN_Pin */
  GPIO_InitStruct.Pin = CLK_IN_Pin;
  GPIO_InitStruct.Mode = GPIO_MODE_AF_PP;
  GPIO_InitStruct.Pull = GPIO_NOPULL;
  GPIO_InitStruct.Speed = GPIO_SPEED_FREQ_LOW;
  GPIO_InitStruct.Alternate = GPIO_AF5_SPI2;
  HAL_GPIO_Init(CLK_IN_GPIO_Port, &GPIO_InitStruct);

  /*Configure GPIO pins : INA_Pin INB_Pin TRIG2_Pin Audio_RST_Pin */
  GPIO_InitStruct.Pin = INA_Pin|INB_Pin|TRIG2_Pin|Audio_RST_Pin;
  GPIO_InitStruct.Mode = GPIO_MODE_OUTPUT_PP;
  GPIO_InitStruct.Pull = GPIO_NOPULL;
  GPIO_InitStruct.Speed = GPIO_SPEED_FREQ_LOW;
  HAL_GPIO_Init(GPIOD, &GPIO_InitStruct);

  /*Configure GPIO pins : A0_left_Pin ECHO2_Pin OTG_FS_OverCurrent_Pin */
  GPIO_InitStruct.Pin = A0_left_Pin|ECHO2_Pin|OTG_FS_OverCurrent_Pin;
  GPIO_InitStruct.Mode = GPIO_MODE_INPUT;
  GPIO_InitStruct.Pull = GPIO_NOPULL;
  HAL_GPIO_Init(GPIOD, &GPIO_InitStruct);

  /*Configure GPIO pins : A0_right_Pin ECHOL_Pin */
  GPIO_InitStruct.Pin = A0_right_Pin|ECHOL_Pin;
  GPIO_InitStruct.Mode = GPIO_MODE_INPUT;
  GPIO_InitStruct.Pull = GPIO_NOPULL;
  HAL_GPIO_Init(GPIOC, &GPIO_InitStruct);

  /*Configure GPIO pin : MEMS_INT2_Pin */
  GPIO_InitStruct.Pin = MEMS_INT2_Pin;
  GPIO_InitStruct.Mode = GPIO_MODE_EVT_RISING;
  GPIO_InitStruct.Pull = GPIO_NOPULL;
  HAL_GPIO_Init(MEMS_INT2_GPIO_Port, &GPIO_InitStruct);

  /* EXTI interrupt init*/
  HAL_NVIC_SetPriority(EXTI0_IRQn, 0, 0);
  HAL_NVIC_EnableIRQ(EXTI0_IRQn);

}

/* USER CODE BEGIN 4 */

void initalise_LSM9DS1(void)
{

	//Write to the accelerometer
	// Linear acceleration sensor Control Register 6
	/*
	i2cBuf[0] = 0x20;	// CTRL_REG6_XL (20h)
	i2cBuf[1] = 0x10;// 00010000 - (0x10) 4g           00011000 - (0x18) this is Accelerometer full-scale selection 8g
	HAL_I2C_Master_Transmit(&hi2c1, LSM9DS1_Acc_write_address, i2cBuf, 2, 10);

	// Read from the same register to see if it worked
	i2cBuf[0] = 0x20;	// CTRL_REG6_XL (20h)
	HAL_I2C_Master_Transmit(&hi2c1, LSM9DS1_Acc_Read_address, i2cBuf, 1, 10);

	i2cBuf[1] = 0x00;	// Clear value before reading value
	HAL_I2C_Master_Receive(&hi2c1, LSM9DS1_Acc_Read_address, &i2cBuf[1], 1, 10);
	printf("value = %x\n", i2cBuf[1]);
	fflush(stdout);

	// Turn on the gyroscope
	i2cBuf[0] = 0x10;	// CTRL_REG1_G (10h)
	i2cBuf[1] = 0xA0;	// 10100000
	HAL_I2C_Master_Transmit(&hi2c1, LSM9DS1_Acc_write_address, i2cBuf, 2, 10);

	i2cBuf[0] = 0x10;	// CTRL_REG1_G (10h)
	HAL_I2C_Master_Transmit(&hi2c1, LSM9DS1_Acc_Read_address, i2cBuf, 1, 10);

	i2cBuf[1] = 0x00;	// Clear value before reading value
	HAL_I2C_Master_Receive(&hi2c1, LSM9DS1_Acc_Read_address, &i2cBuf[1], 1, 10);
	printf("value = %x\n", i2cBuf[1]);
	fflush(stdout);

	*/

	// Setup Angular rate sensor Control Register 1
	i2cBuf[0] = CTRL_REG1_G;
	i2cBuf[1] = CTRL_REG1_G_VALUE;
	HAL_I2C_Master_Transmit(&hi2c1, LSM9DS1_Acc_write_address, i2cBuf, 2, 10);

	// Setup Angular rate sensor Control Register 3
	i2cBuf[0] = CTRL_REG3_G;
	i2cBuf[1] = CTRL_REG3_G_VALUE;
	HAL_I2C_Master_Transmit(&hi2c1, LSM9DS1_Acc_write_address, i2cBuf, 2, 10);

	// Setup Linear acceleration sensor Control Register 6
	i2cBuf[0] = CTRL_REG6_XL;
	i2cBuf[1] = CTRL_REG6_XL_VALUE;
	HAL_I2C_Master_Transmit(&hi2c1, LSM9DS1_Acc_write_address, i2cBuf, 2, 10);

	// Setup Linear acceleration sensor Control Register 7
	i2cBuf[0] = CTRL_REG7_XL;
	i2cBuf[1] = CTRL_REG7_XL_VALUE;
	HAL_I2C_Master_Transmit(&hi2c1, LSM9DS1_Acc_write_address, i2cBuf, 2, 10);

	// Setup Magnetometer register 1
	i2cBuf[0] = CTRL_REG1_M;
	i2cBuf[1] = CTRL_REG1_M_VALUE;
	HAL_I2C_Master_Transmit(&hi2c1, LSM9DS1_Mag_write_address, i2cBuf, 2, 10);

	// Setup Magnetometer register 2
	i2cBuf[0] = CTRL_REG2_M;
	i2cBuf[1] = CTRL_REG2_M_VALUE;
	HAL_I2C_Master_Transmit(&hi2c1, LSM9DS1_Mag_write_address, i2cBuf, 2, 10);

	// Setup Magnetometer register 3
	i2cBuf[0] = CTRL_REG3_M;
	i2cBuf[1] = CTRL_REG3_M_Value;
	HAL_I2C_Master_Transmit(&hi2c1, LSM9DS1_Mag_write_address, i2cBuf, 2, 10);

	// lower y offset register
	i2cBuf[0] = 0x07;
	i2cBuf[1] = 0x00;	//S ?
	HAL_I2C_Master_Transmit(&hi2c1, LSM9DS1_Mag_write_address, i2cBuf, 2, 10);

	// High y offset register
	i2cBuf[0] = 0x08;
	i2cBuf[1] = 0x00;
	HAL_I2C_Master_Transmit(&hi2c1, LSM9DS1_Mag_write_address, i2cBuf, 2, 10);

	// Low X offset register
	i2cBuf[0] = 0x05;
	i2cBuf[1] = 0x00;	//E
	HAL_I2C_Master_Transmit(&hi2c1, LSM9DS1_Mag_write_address, i2cBuf, 2, 10);

	// High X offset register
	i2cBuf[0] = 0x06;
	i2cBuf[1] = 0x03;
	HAL_I2C_Master_Transmit(&hi2c1, LSM9DS1_Mag_write_address, i2cBuf, 2, 10);

	printf("Register setup Complete\n");
	fflush(stdout);

}
/**************************************
 * Function to get raw magnetic data
 **************************************/
void mag_get_raw(void)
{
	// Send address to read
   i2cBuf[0] = OUT_X_L_M;
   HAL_I2C_Master_Transmit(&hi2c1,LSM9DS1_Mag_Read_address, i2cBuf, 1,10);
   HAL_I2C_Master_Receive(&hi2c1, LSM9DS1_Mag_Read_address, &MagBuff[0], 6, 10);
}

/**********************************************************
 * Function to convert magnetic values to compass bearings
 ***********************************************************/
double mag_convert_values()
{
/*
	int i;
	for (i = 0; i < 6; i++)
	{
		printf("MagBuff[%d] = %d\n", i, MagBuff[i]);

	}
*/
	//Bit shift to combine upper and lower byte

	mx = (MagBuff[1] << 8 | MagBuff[0]);
	my = (MagBuff[3] << 8 | MagBuff[2]);
	mz = (MagBuff[5] << 8 | MagBuff[4]);

//	printf("mx = %d my = %d mz = %d\n", (int) mx, (int) my, (int) mz);

	//Convert to unit of degrees

	Xmag = (float)mx*0.14;
	Ymag = (float)my*0.14;
	Zmag = (float)mz*0.14;

//	printf("Xmag  = %0.2lfmg Ymag = %0.2lfmg Zmag = %0.2lfmg\n", Xmag , Ymag, Zmag);
//	fflush(stdout);

	angle = atan2f(mx,my)*(180/3.14);
	//printf("angle = %0.2f\n", angle);

	direction = fmod((450-angle),360);

	//printf("Direction = %0.2f\n", direction);

	return(direction);

}

/*******************************************
 * Function to get the raw angle data
 ********************************************/
void angle_get_raw(void)
{
	// Send address to read
   i2cBuf[0] = OUT_X_L_G;
   HAL_I2C_Master_Transmit(&hi2c1,LSM9DS1_Acc_Read_address, i2cBuf, 1,10);

   HAL_I2C_Master_Receive(&hi2c1, LSM9DS1_Acc_Read_address, &GyroBuff[0], 6, 10);
}

/******************************************
 * Function to convert the raw angle
 *******************************************/
void angle_convert_values(void)
{
	//int i;
	/*
	for (i = 0; i < 6; i++)
	{
		printf("GyroBuff[%d] = %d\n", i, GyroBuff[i]);

	}
	*/

	//Bit shift to combine upper and lower byte

	gx = (GyroBuff[1] << 8 | GyroBuff[0]);
	gy = (GyroBuff[3] << 8 | GyroBuff[2]);
	gz = (GyroBuff[5] << 8 | GyroBuff[4]);

	printf("ax = %0.2f ay = %0.2f az = %0.2f\n", (float) ax, (float) ay, (float) az);

	//Convert to unit of degrees

	Xangle = (float)gx*17.5;
	Yangle = (float)gy*17.5;
	Zangle = (float)gz*17.5;

	Xangledeg = (Xangledeg + Xangle) * 0.01;
	Yangledeg = (Yangledeg + Yangle) * 0.01;
	Zangledeg = (Zangledeg + Zangle) * 0.01;

	printf("Xangle = %0.2fmdps Yangle = %0.2fmdps Zangle = %0.2fmdps\n", Xangle, Yangle, Zangle);
	fflush(stdout);

	printf("Xangledeg = %0.2fmdps Yangledeg = %0.2fmdps Zangledeg = %0.2fmdps\n", Xangledeg, Yangledeg, Zangledeg);
	fflush(stdout);

}

/**************************************************
 * Function to read Raw acceleration data
 **************************************************/
void acceleration_get_raw(void)
{
	// Send address to read
   i2cBuf[0] = OUT_X_L_XL;
   HAL_I2C_Master_Transmit(&hi2c1,LSM9DS1_Acc_Read_address, i2cBuf, 1,10);

   HAL_I2C_Master_Receive(&hi2c1, LSM9DS1_Acc_Read_address, &AccBuf[0], 6, 10);

}

/************************************************
 * Function to convert the raw values
 ***********************************************/
double acceleration_convert_values(void)
{
//	int i;
//	for (i = 0; i < 6; i++)
//	{
//		printf("AccBuf[%d] = %d\n", i, AccBuf[i]);
//
//	}

	//Bit shift to combine upper and lower byte

	ax = (AccBuf[1] << 8 | AccBuf[0]);
	ay = (AccBuf[3] << 8 | AccBuf[2]);
	az = (AccBuf[5] << 8 | AccBuf[4]);

	//printf("ax = %0.2f ay = %0.2f az = %0.2f\n", (float) ax, (float) ay, (float) az);

	//Convert to unit of g

	Xaccel = (float)ax*(0.000122)*9.8;
	Yaccel = (float)ay*(0.000122)*9.8;
	Zaccel = (float)az*(0.000122)*9.8;

	printf("Xaccel = %0.3fm/s/s Yaccel = %0.3fm/s/s Zaccel = %0.3fm/s/s \n", Xaccel, Yaccel, Zaccel);
	fflush(stdout);
	return(Yaccel);

}

/*********************************************
 * Function to read and display temperature
 **********************************************/
void read_temperature(void)
{
	// Send address to read
   i2cBuf[0] = OUT_TEMP_L;
   HAL_I2C_Master_Transmit(&hi2c1,LSM9DS1_Acc_Read_address, i2cBuf, 1,10);

   HAL_I2C_Master_Receive(&hi2c1, LSM9DS1_Acc_Read_address, &Deg_Buff[0], 2, 10);

   temp = (Deg_Buff[1] << 8 | Deg_Buff[0]);

   deg = ((float)temp/16.0f) + 25.0f;
   printf("Temperature = %.2f\n",deg);

}
void HAL_ADC_ConvCpltCallback(ADC_HandleTypeDef* hadc)
{

	//HAL_ADC_Stop_DMA(&hadc1);

	//speed = (double)count;
	current = (double)data[1];
	FLAG1 = 1;

}

void HAL_GPIO_EXTI_Callback(uint16_t GPIO_Pin)
{
	tnew = HAL_GetTick();
	tdiff = tnew - told;
	told = tnew;
	//count++;		//Hall Effect
}

double ultrasonic(void){

	uint32_t localtime = 0;

	double distance = 0;

	HAL_GPIO_WritePin(TRIGL_GPIO_Port, TRIGL_Pin, GPIO_PIN_RESET);  // set the TRIG pin low initially
	DWT_Delay(2);

	localtime = 0;		//Restart local clock

	HAL_GPIO_WritePin(TRIGL_GPIO_Port, TRIGL_Pin, GPIO_PIN_SET);  // set TRIG pin HIGH for 10us
	DWT_Delay(10);

	HAL_GPIO_WritePin(TRIGL_GPIO_Port, TRIGL_Pin, GPIO_PIN_RESET);  // set the TRIG pin low

	//Read ECHO Pin to calculate length of echo pulse

	while (!(HAL_GPIO_ReadPin(ECHOL_GPIO_Port, ECHOL_Pin)));  // wait for the ECHO pin to go high
	while (HAL_GPIO_ReadPin(ECHOL_GPIO_Port, ECHOL_Pin))    // while the pin is high
	{
		localtime++;   // measure time for which the pin is high
		DWT_Delay(1);
	}

	distance = (0.034*(double)localtime) - 2;			//0.034 = Speed of sound in cm/microsecond
													//(-2) accounts for sensor dead zone (mount 2cm from front)
	//Possible Filtering

	return distance;
}

double ultrasonic2(void){

	uint32_t localtime = 0;

	double distance = 0;

	HAL_GPIO_WritePin(TRIG2_GPIO_Port, TRIG2_Pin, GPIO_PIN_RESET);  // set the TRIG pin low initially
	DWT_Delay(2);

	localtime = 0;		//Restart local clock

	HAL_GPIO_WritePin(TRIG2_GPIO_Port, TRIG2_Pin, GPIO_PIN_SET);  // set TRIG pin HIGH for 10us
	DWT_Delay(10);

	HAL_GPIO_WritePin(TRIG2_GPIO_Port, TRIG2_Pin, GPIO_PIN_RESET);  // set the TRIG pin low

	//Read ECHO Pin to calculate length of echo pulse

	while (!(HAL_GPIO_ReadPin(ECHO2_GPIO_Port, ECHO2_Pin)));  // wait for the ECHO pin to go high
	while (HAL_GPIO_ReadPin(ECHO2_GPIO_Port, ECHO2_Pin))    // while the pin is high
	{
		localtime++;   // measure time for which the pin is high
		DWT_Delay(1);
	}

	distance = (0.034*(double)localtime) - 2;			//0.034 = Speed of sound in cm/microsecond
													//(-2) accounts for sensor dead zone (mount 2cm from front)
	//Possible Filtering

	return distance;
}

int __io_putchar(int ch)
{
  HAL_UART_Transmit(&huart3, (uint8_t *)(&ch), 1, 0xFFFF);
  return 1;
}

int __io_getchar(void)
{
  uint8_t ch;
  HAL_UART_Receive(&huart3, (uint8_t *)(&ch), 1, 0xFFFF);
  return (int)ch;
}

void stdio_setup(void)
{
    // Turn off buffers, so I/O occurs immediately
    setvbuf(stdin, NULL, _IONBF, 0);
    setvbuf(stdout, NULL, _IONBF, 0);
    setvbuf(stderr, NULL, _IONBF, 0);
}

void pwm_setvalue(int a, uint32_t pwm)
{
	//Timer configuration setup

	TIM_OC_InitTypeDef sConfigOC;

	//Timer setup
	sConfigOC.OCMode = TIM_OCMODE_PWM1;
	sConfigOC.OCPolarity = TIM_OCPOLARITY_HIGH;
	sConfigOC.OCFastMode = TIM_OCFAST_DISABLE;

	//Stop motors: turn on both low gates
	switch(a){

		// Stop - i think this is baaddd

		case 0:

			//set pulse to high_a
			sConfigOC.Pulse = pwm;
			if (HAL_TIM_PWM_ConfigChannel(&htim4, &sConfigOC, TIM_CHANNEL_1) != HAL_OK)
			{
				Error_Handler();
			}
			HAL_TIM_PWM_Start(&htim4, TIM_CHANNEL_1);

			//Enable INA and enable INB- stop
			HAL_GPIO_WritePin(GPIOD, INA_Pin, GPIO_PIN_SET);
			HAL_GPIO_WritePin(GPIOD, INB_Pin, GPIO_PIN_SET);

		break;

		//Go forwards

		case 1:

			//set pulse to high_a
			sConfigOC.Pulse = pwm;
			if (HAL_TIM_PWM_ConfigChannel(&htim4, &sConfigOC, TIM_CHANNEL_1) != HAL_OK)
			{
				Error_Handler();
			}
			HAL_TIM_PWM_Start(&htim4, TIM_CHANNEL_1);

			//Enable INA and disable INB- forwards direction
			HAL_GPIO_WritePin(GPIOD, INA_Pin, GPIO_PIN_RESET);
			HAL_GPIO_WritePin(GPIOD, INB_Pin, GPIO_PIN_SET);

		break;

		//Go backwards

		case 2:

			//set pulse to high_a
			sConfigOC.Pulse = pwm;
			if (HAL_TIM_PWM_ConfigChannel(&htim4, &sConfigOC, TIM_CHANNEL_1) != HAL_OK)
			{
				Error_Handler();
			}
			HAL_TIM_PWM_Start(&htim4, TIM_CHANNEL_1);

			//Enable INB and disable INA- backwards direction
			HAL_GPIO_WritePin(GPIOD, INA_Pin, GPIO_PIN_SET);
			HAL_GPIO_WritePin(GPIOD, INB_Pin, GPIO_PIN_RESET);

		break;
	}
}

void steer_straight(void)
{
	steer_pwm_setvalue(234);
}

void steer_left()
{
	steer_pwm_setvalue(200);
}

void steer_right()
{
	steer_pwm_setvalue(290);
}

void steer_pwm_setvalue(uint16_t value)
{
	TIM_OC_InitTypeDef sConfigOC;

	sConfigOC.OCMode = TIM_OCMODE_PWM1;
	sConfigOC.Pulse = value;
	sConfigOC.OCPolarity = TIM_OCPOLARITY_HIGH;
	sConfigOC.OCFastMode = TIM_OCFAST_DISABLE;

	if (HAL_TIM_PWM_ConfigChannel(&htim2, &sConfigOC, TIM_CHANNEL_1) != HAL_OK)
	{
		Error_Handler();
	}

	HAL_TIM_PWM_Start(&htim2, TIM_CHANNEL_1);
}

double dis_control(double u, double ref, double u2)
{
	float y;			/* Control output */
	float e;			//error

	/* Compute new integrator and the final control output. */
	e = u - ref; 	//calculate error
	y = kp3 * e;

	if(ref>100)
	{
	  y = u2;
	}

	return y;
}

double vel_control (double u, double ref, uint32_t pwm)
{

	int int_update;      /* Integrator update variable*/
	long new_i;       /*  new integrator value */
	float y;			/* Control output */
	float e;			//error

	/* Compute new integrator and the final control output. */
	e = u - ref; 	//calculate error
	y = kp2 * e;

	if((pwm < MAX_PWM) && (pwm > 0))
	{
	  new_i = iu2 + e;	//calculate integral
	  y = y + (ki2 * new_i); // calculate control output
	}

	iu2 = new_i;

	//Check for saturation

	return y;
}

uint32_t pi_control (double u, double ref, uint32_t pwm)
{
	double y;			/* Control output */
	double e;			//error
	double new_i;       /*  new integrator value */

	/* Compute new integrator and the final control output. */
	e = u - ref; 	//calculate error
	y = (kp * e); // calculate control output

	if((pwm < MAX_PWM) && (pwm > 0))
	{
		new_i = iu + e;	//calculate integral
		y = y + (ki * new_i); // calculate control output
	}

	iu = new_i;

	return (unsigned int) y;
}
/* USER CODE END 4 */

void Error_Handler(void)
{
}

/************************ (C) COPYRIGHT STMicroelectronics *****END OF FILE****/
